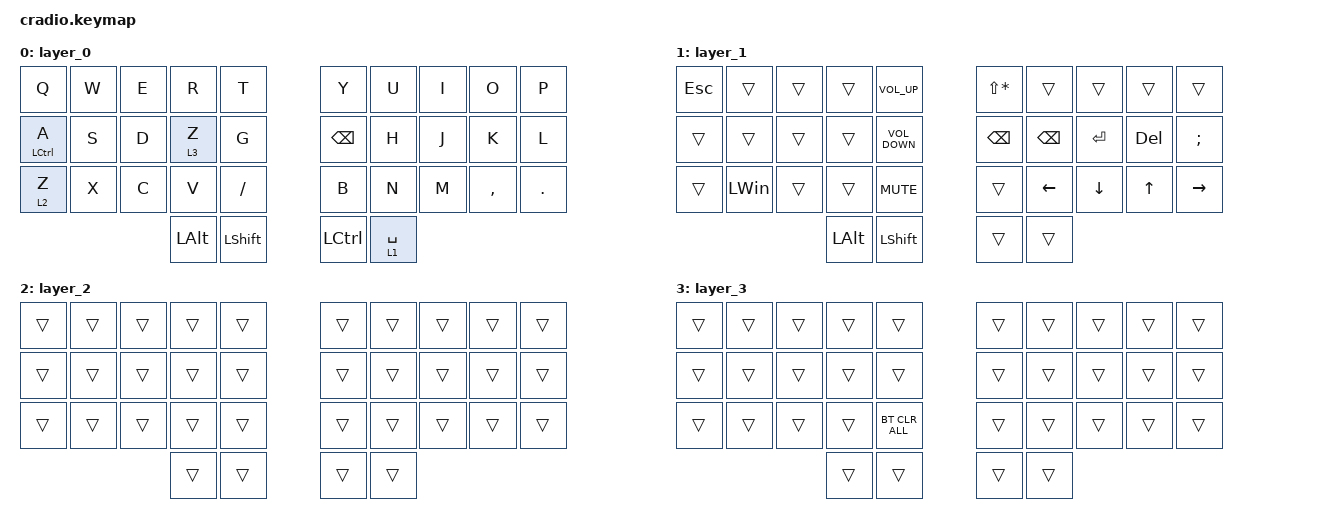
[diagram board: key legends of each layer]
#include <behaviors.dtsi>
#include <dt-bindings/zmk/bt.h>
#include <dt-bindings/zmk/keys.h>

/ {
    keymap {
        compatible = "zmk,keymap";

        layer_0 {
            bindings = <
&kp Q               &kp W  &kp E  &kp R     &kp T             &kp Y      &kp U        &kp I  &kp O      &kp P
&mt LEFT_CONTROL A  &kp S  &kp D  &lt 3 Z   &kp G             &kp BSPC   &kp H        &kp J  &kp K      &kp L
&lt 2 Z             &kp X  &kp C  &kp V     &kp FSLH          &kp B      &kp N        &kp M  &kp COMMA  &kp DOT
                                  &kp LALT  &kp LEFT_SHIFT    &kp LCTRL  &lt 1 SPACE
            >;
        };

        layer_1 {
            bindings = <
&kp ESC  &trans        &trans  &trans        &kp C_VOLUME_UP      &kp LS(STAR)  &trans    &trans    &trans   &trans
&trans   &trans        &trans  &trans        &kp C_VOLUME_DOWN    &kp BSPC      &kp BSPC  &kp RET   &kp DEL  &kp SEMI
&trans   &kp LEFT_WIN  &trans  &trans        &kp K_MUTE           &trans        &kp LEFT  &kp DOWN  &kp UP   &kp RIGHT
                               &kp LEFT_ALT  &kp LEFT_SHIFT       &trans        &trans
            >;
        };

        layer_2 {
            bindings = <
&trans  &trans  &trans  &trans  &trans    &trans  &trans  &trans  &trans  &trans
&trans  &trans  &trans  &trans  &trans    &trans  &trans  &trans  &trans  &trans
&trans  &trans  &trans  &trans  &trans    &trans  &trans  &trans  &trans  &trans
                        &trans  &trans    &trans  &trans
            >;
        };

        layer_3 {
            bindings = <
&trans  &trans  &trans  &trans  &trans            &trans  &trans  &trans  &trans  &trans
&trans  &trans  &trans  &trans  &trans            &trans  &trans  &trans  &trans  &trans
&trans  &trans  &trans  &trans  &bt BT_CLR_ALL    &trans  &trans  &trans  &trans  &trans
                        &trans  &trans            &trans  &trans
            >;
        };
    };
};

